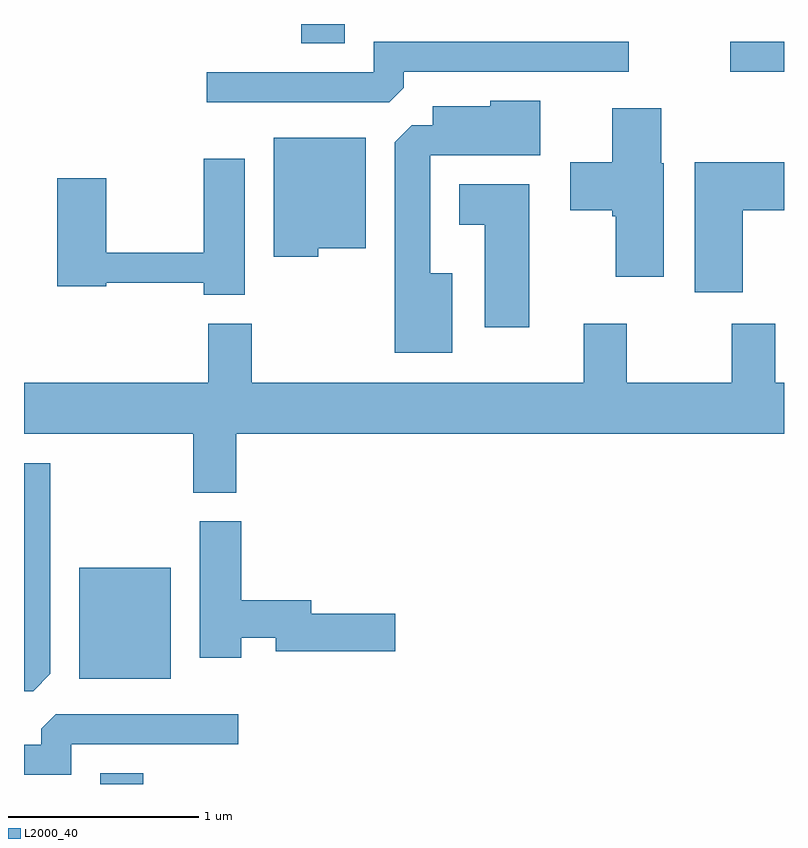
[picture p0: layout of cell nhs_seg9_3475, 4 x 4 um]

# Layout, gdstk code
import gdstk
lib = gdstk.Library(unit=1e-6, precision=1e-09)
def R(c, l, rs):  # rectangles x0, y0, x1, y1
    for r in rs: c.add(gdstk.rectangle(r[:2], r[2:], *l))
def P(c, l, *ps):  # polygons
    for p in ps: c.add(gdstk.Polygon(p, *l))
L2000_40 = (2000, 40)

nhs_seg9_3475 = lib.new_cell('nhs_seg9_3475')
R(nhs_seg9_3475, L2000_40, [(288.011,1974.432,288.239,1974.489), (287.901,1974.986,288.384,1975.569), (291.328,1978.181,291.611,1978.339), (289.071,1978.331,289.299,1978.432)])
P(nhs_seg9_3475, L2000_40, [(289.609,1978.097),(289.609,1978.181),(290.793,1978.181),(290.793,1978.339),(289.451,1978.339),(289.451,1978.179),(288.573,1978.179),(288.573,1978.021),(289.534,1978.021)],
  [(289.864,1977.119),(289.749,1977.119),(289.749,1977.741),(290.329,1977.741),(290.329,1978.029),(290.066,1978.029),(290.066,1977.999),(289.761,1977.999),(289.761,1977.899),(289.652,1977.899),(289.561,1977.809),(289.561,1976.701),(289.864,1976.701)],
  [(290.979,1977.7),(290.964,1977.7),(290.964,1977.989),(290.706,1977.989),(290.706,1977.704),(290.486,1977.704),(290.486,1977.451),(290.706,1977.451),(290.706,1977.421),(290.726,1977.421),(290.726,1977.101),(290.979,1977.101)],
  [(289.159,1977.251),(289.409,1977.251),(289.409,1977.834),(288.926,1977.834),(288.926,1977.206),(289.159,1977.206)],
  [(288.774,1977.724),(288.556,1977.724),(288.556,1977.229),(288.044,1977.229),(288.044,1977.619),(287.786,1977.619),(287.786,1977.051),(288.044,1977.051),(288.044,1977.071),(288.556,1977.071),(288.556,1977.006),(288.774,1977.006)],
  [(291.394,1977.451),(291.611,1977.451),(291.611,1977.704),(291.141,1977.704),(291.141,1977.021),(291.394,1977.021)],
  [(290.269,1977.589),(289.901,1977.589),(289.901,1977.376),(290.036,1977.376),(290.036,1976.836),(290.269,1976.836)],
  [(288.729,1976.276),(291.611,1976.276),(291.611,1976.544),(291.564,1976.544),(291.564,1976.854),(291.336,1976.854),(291.336,1976.544),(290.784,1976.544),(290.784,1976.854),(290.556,1976.854),(290.556,1976.544),(288.809,1976.544),(288.809,1976.854),(288.581,1976.854),(288.581,1976.544),(287.611,1976.544),(287.611,1976.276),(288.501,1976.276),(288.501,1975.966),(288.729,1975.966)],
  [(287.749,1975.012),(287.749,1976.119),(287.611,1976.119),(287.611,1974.921),(287.659,1974.921)],
  [(288.754,1975.201),(288.936,1975.201),(288.936,1975.131),(289.564,1975.131),(289.564,1975.329),(289.124,1975.329),(289.124,1975.399),(288.754,1975.399),(288.754,1975.814),(288.536,1975.814),(288.536,1975.096),(288.754,1975.096)],
  [(287.859,1974.641),(288.738,1974.641),(288.738,1974.799),(287.777,1974.799),(287.701,1974.724),(287.701,1974.639),(287.611,1974.639),(287.611,1974.481),(287.859,1974.481)])

lib.write_gds('nhs_seg9_3475.gds')
